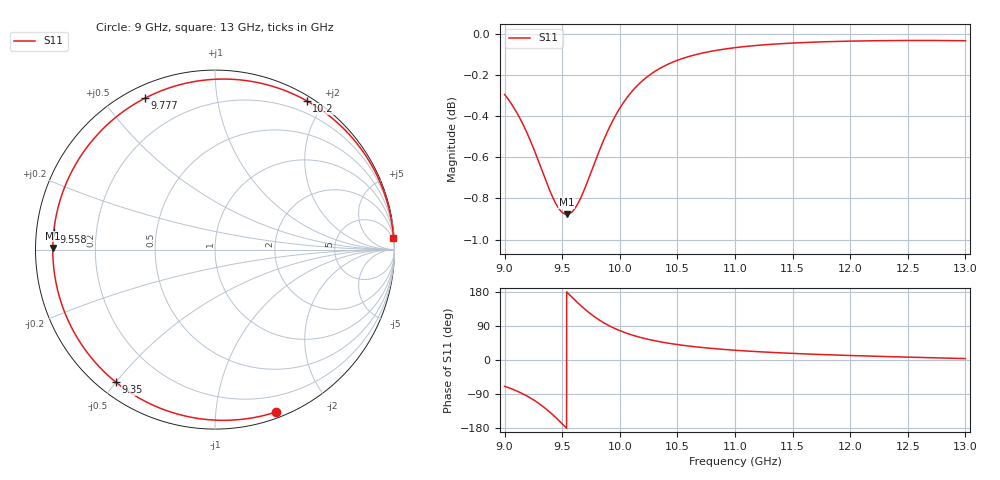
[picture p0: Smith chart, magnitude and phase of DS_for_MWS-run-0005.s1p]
! TOUCHSTONE file generated by CST DESIGN STUDIO
! Date and time: Tue Feb  4 17:08:07 2025
! Project name: C:\Work\MatlabApps\UnitCellOptimizationMatlab\CST\unitcell.cst
! Tree item: Tasks\Sweep1\SPara1\S-Parameters
! Header version: 2024
! Port assignment regex: !\s*Touchstone port\s*([0-9]+)\s*=\s*(CST MWS port|CST DES external port|CST DES block port)\s*(.+)\s* \(\"(.*)\"\)(\s*mode\s*([0-9]+))?.*
! Touchstone port assignment:
! Touchstone port 1 = CST DES external port 1 ("")
# GHz S MA R 50
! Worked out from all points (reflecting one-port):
!   4001 points, 9 GHz to 13 GHz, reference 50 ohm
!   lowest |S11| = -0.9 dB at 9.54 GHz (marker M1), VSWR 19.81, Z = 2.52 + j0.265 ohm
!   phase of S11 starts at -69 deg and turns -287 deg over the sweep
!   S11 on the Smith chart (normalised r, x): 9 GHz: 0.05, -1.44; 9.35 GHz: 0.05, -0.50; 9.558 GHz: 0.05, +0.05; 9.777 GHz: 0.05, +0.64; 10.2 GHz: 0.06, +1.79; 13 GHz: 2, +30
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9  0.9666 -69.5
9.098  0.9577 -80.8
9.206  0.9445 -97.0
9.282  0.9331 -111.4
9.35  0.9224 -126.8
9.421  0.9121 -145.4
9.462  0.9076 -157.1
9.5  0.9049 -168.4
9.54  0.9039 179.4
9.558  0.9041 173.9
9.612  0.907 157.7
9.673  0.9138 140.4
9.724  0.9213 127.1
9.777  0.9296 114.8
9.824  0.9369 105.1
9.876  0.9445 95.6
9.933  0.9519 86.5
10  0.9592 77.5
10.093  0.9673 67.2
10.195  0.974 58.3
10.335  0.9804 48.9
10.5  0.9853 40.7
10.721  0.9893 32.8
11  0.9923 25.7
11.5  0.9948 17.4
12  0.9959 11.8
12.5  0.9963 7.5
13  0.9961 3.8
